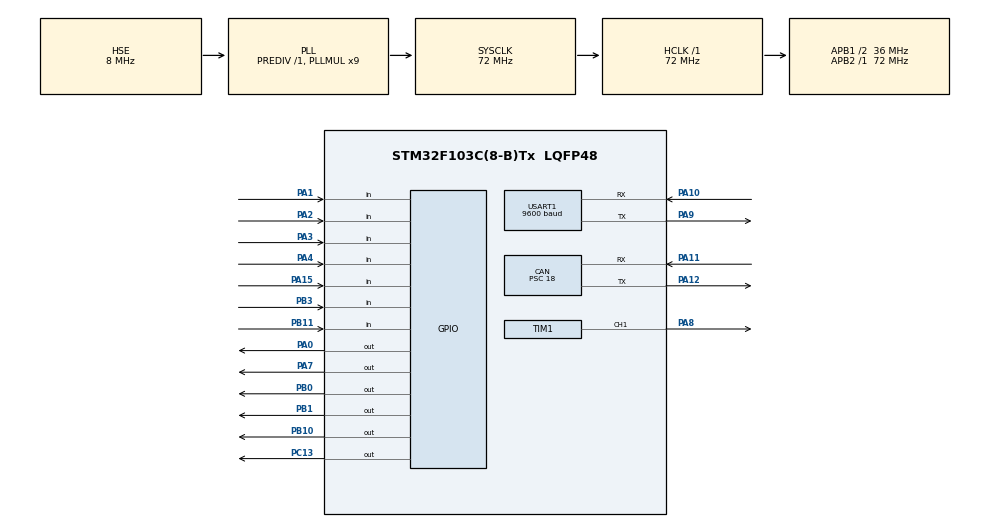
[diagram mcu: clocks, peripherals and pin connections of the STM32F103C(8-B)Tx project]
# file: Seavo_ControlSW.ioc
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CAN.BS1=CAN_BS1_4TQ
CAN.BS2=CAN_BS2_3TQ
CAN.CalculateBaudRate=250000
CAN.CalculateTimeBit=4000
CAN.CalculateTimeQuantum=500.0
CAN.Prescaler=18
FREERTOS.Tasks01=defaultTask,0,128,StartDefaultTask,Default,NULL,Dynamic,NULL,NULL
FREERTOS.configUSE_NEWLIB_REENTRANT=1
Mcu.Family=STM32F1
Mcu.Name=STM32F103C(8-B)Tx
Mcu.Package=LQFP48
NVIC.CAN1_RX1_IRQn=true\:5\:0\:false\:false\:true\:true\:true\:true\:true
NVIC.CAN1_SCE_IRQn=true\:5\:0\:false\:false\:true\:true\:true\:true\:true
NVIC.PriorityGroup=NVIC_PRIORITYGROUP_4
NVIC.TIM2_IRQn=true\:15\:0\:false\:false\:true\:false\:false\:true\:true
NVIC.TIM3_IRQn=true\:5\:0\:false\:false\:true\:true\:true\:true\:true
NVIC.TIM4_IRQn=true\:5\:0\:false\:false\:true\:true\:true\:true\:true
NVIC.TimeBase=TIM2_IRQn
NVIC.TimeBaseIP=TIM2
NVIC.USB_HP_CAN1_TX_IRQn=true\:5\:0\:false\:false\:true\:true\:true\:true\:true
NVIC.USB_LP_CAN1_RX0_IRQn=true\:5\:0\:true\:false\:true\:true\:true\:true\:true
PA0-WKUP.GPIO_ModeDefaultOutputPP=GPIO_MODE_OUTPUT_OD
PA0-WKUP.GPIO_PuPd=GPIO_NOPULL
PA0-WKUP.PinState=GPIO_PIN_SET
PA0-WKUP.Signal=GPIO_Output
PA1.GPIO_PuPd=GPIO_PULLUP
PA1.Signal=GPIO_Input
PA10.Mode=Asynchronous
PA10.Signal=USART1_RX
PA11.Mode=CAN_Activate
PA11.Signal=CAN_RX
PA12.Mode=CAN_Activate
PA12.Signal=CAN_TX
PA13.Mode=Serial_Wire
PA13.Signal=SYS_JTMS-SWDIO
PA14.Mode=Serial_Wire
PA14.Signal=SYS_JTCK-SWCLK
PA15.GPIO_PuPd=GPIO_PULLUP
PA15.Signal=GPIO_Input
PA2.GPIO_PuPd=GPIO_PULLUP
PA2.Signal=GPIO_Input
PA3.GPIO_PuPd=GPIO_PULLUP
PA3.Signal=GPIO_Input
PA4.GPIO_PuPd=GPIO_PULLUP
PA4.Signal=GPIO_Input
PA7.Signal=GPIO_Output
PA8.Signal=S_TIM1_CH1
PA9.Mode=Asynchronous
PA9.Signal=USART1_TX
PB0.Signal=GPIO_Output
PB1.Signal=GPIO_Output
PB10.PinState=GPIO_PIN_RESET
PB10.Signal=GPIO_Output
PB11.Signal=GPIO_Input
PB3.Signal=GPIO_Input
PC13-TAMPER-RTC.PinState=GPIO_PIN_SET
PC13-TAMPER-RTC.Signal=GPIO_Output
PC14-OSC32_IN.Mode=LSE-External-Oscillator
PC14-OSC32_IN.Signal=RCC_OSC32_IN
PC15-OSC32_OUT.Mode=LSE-External-Oscillator
PC15-OSC32_OUT.Signal=RCC_OSC32_OUT
PD0-OSC_IN.Mode=HSE-External-Oscillator
PD0-OSC_IN.Signal=RCC_OSC_IN
PD1-OSC_OUT.Mode=HSE-External-Oscillator
PD1-OSC_OUT.Signal=RCC_OSC_OUT
ProjectManager.HeapSize=0x200
ProjectManager.StackSize=0x400
ProjectManager.TargetToolchain=STM32CubeIDE
RCC.ADCPresc=RCC_ADCPCLK2_DIV6
RCC.AHBFreq_Value=72000000
RCC.APB1CLKDivider=RCC_HCLK_DIV2
RCC.APB1Freq_Value=36000000
RCC.APB1TimFreq_Value=72000000
RCC.APB2Freq_Value=72000000
RCC.APB2TimFreq_Value=72000000
RCC.HCLKFreq_Value=72000000
RCC.PLLMUL=RCC_PLL_MUL9
RCC.PLLSourceVirtual=RCC_PLLSOURCE_HSE
RCC.SYSCLKFreq_VALUE=72000000
RCC.SYSCLKSource=RCC_SYSCLKSOURCE_PLLCLK
RCC.USBFreq_Value=72000000
SH.S_TIM1_CH1.0=TIM1_CH1,PWM Generation1 CH1
TIM1.Channel-PWM\ Generation1\ CH1=TIM_CHANNEL_1
TIM1.Period=1000-1
TIM1.Prescaler=144-1
TIM3.Period=5000-1
TIM3.Prescaler=6500-1
TIM4.Period=5000-1
TIM4.Prescaler=4000-1
USART1.BaudRate=9600
USART1.VirtualMode=VM_ASYNC
VP_FREERTOS_VS_CMSIS_V1.Mode=CMSIS_V1
VP_SYS_VS_tim2.Mode=TIM2
VP_TIM1_VS_ClockSourceINT.Mode=Internal
VP_TIM3_VS_ClockSourceINT.Mode=Internal
VP_TIM4_VS_ClockSourceINT.Mode=Internal
board=custom

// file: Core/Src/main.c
/* USER CODE BEGIN Header */
/**
 ******************************************************************************
 * @file           : main.c
 * @brief          : Main program body
 ******************************************************************************
 * @attention
 *
 * Copyright (c) 2024 STMicroelectronics.
 * All rights reserved.
 *
 * This software is licensed under terms that can be found in the LICENSE file
 * in the root directory of this software component.
 * If no LICENSE file comes with this software, it is provided AS-IS.
 *
 ******************************************************************************
 */
/* USER CODE END Header */
#include "main.h"
#include "cmsis_os.h"
#include "can.h"
#include "tim.h"
#include "usart.h"
#include "gpio.h"

void SystemClock_Config(void);
void MX_FREERTOS_Init(void);

/* USER CODE BEGIN 0 */

void ControlMainFunction_Task    (void  * argument);
void ShutDowenSequenceFunctio_Task    (void  * argument);
void SpeedControl_Task    (void  * argument);
void DashboardDisplay_Task    (void  * argument);

CAN_TxHeaderTypeDef   TxHeader;
uint8_t               TxData[8];
uint32_t              TxMailbox;

CAN_RxHeaderTypeDef rxHeader;
uint8_t rxData[8];

int32_t Rec_ERPM;
int16_t Rec_Current;
int16_t Rec_DutyCycle;
uint32_t Rec_AhUsed;
uint32_t Rec_AhCharged;
uint32_t Rec_WhUsed;
uint32_t Rec_WhCharged;
int16_t Rec_TempFET;
int16_t Rec_TempMotor;
int16_t Rec_CurrentIn;
int16_t Rec_PIDPos;
int32_t Rec_Tachometer;
int16_t Rec_VoltageIn;

uint8_t commandID=0;
int32_t ERPM=0;
float Current=0;
float DutyCycle =0;
float AhUsed =0;
float AhCharged=0;
uint32_t WhUsed=0;
uint32_t WhCharged=0;
int16_t TempFET = 0;
int16_t TempMotor = 0;
int16_t CurrentIn = 0;
int16_t PIDPos = 0;
int32_t Tachometer = 0;
int16_t VoltageIn =0;

uint8_t FristTimeFlag = 0;
int32_t u8_RequestedSpeed = 500;
uint8_t u8_TimeOutFlag1 = 0;
uint8_t u8_TimeOutFlag4 = 0;
GPIO_PinState Switch1_State;
GPIO_PinState Switch2_State;
GPIO_PinState Switch15_State;
GPIO_PinState Switch3_State;
int8_t iterator=0;
int32_t current_speed = 500;

GPIO_PinState RighProximity_State;
GPIO_PinState LeftProximity_State;
typedef enum
{
	Displat_Init,
	Display_Black,
	Display_Intro,
	Display_Gear0,
	Display_Gear1,
	Display_Gear2,
	Display_Gear3,
	Display_Gear4,
	Display_Gear5,
}Display_t;
//Display_t prev_display= Display_Black;
Display_t current_display=Displat_Init;
typedef enum
{
	System_OpenSequenceOn,
	System_Operation,
	System_OpenSequenceOff,
}System_State_t;
System_State_t System_State;
uint8_t Display_BlackScreen[9]={0x70,0x61,0x67,0x65,0x20,0x30,0xff,0xff,0xff};
uint8_t Display_IntroScreen[9]={0x70,0x61,0x67,0x65,0x20,0x31,0xff,0xff,0xff};
uint8_t Display_Speed0[9]={0x70,0x61,0x67,0x65,0x20,0x32,0xff,0xff,0xff};
uint8_t Display_Speed1[9]={0x70,0x61,0x67,0x65,0x20,0x33,0xff,0xff,0xff};
uint8_t Display_Speed2[9]={0x70,0x61,0x67,0x65,0x20,0x34,0xff,0xff,0xff};
uint8_t Display_Speed3[9]={0x70,0x61,0x67,0x65,0x20,0x35,0xff,0xff,0xff};
uint8_t Display_Speed4[9]={0x70,0x61,0x67,0x65,0x20,0x36,0xff,0xff,0xff};
uint8_t Display_Speed5[9]={0x70,0x61,0x67,0x65,0x20,0x37,0xff,0xff,0xff};
uint8_t RPM[7]={'n','0','.','v','a','l','='};
uint8_t CUR[7]={'n','2','.','v','a','l','='};
uint8_t DUTY[7]={'n','1','.','v','a','l','='};
uint8_t WH[7]={'n','3','.','v','a','l','='};
uint8_t Termination[3] = {0xff,0xff,0xff};
int size=0;
uint8_t arr[50];

int int32ToAsciiArray(int32_t number, uint8_t arr[], int maxSize) ;
int int32ToAsciiArray(int32_t number, uint8_t arr[], int maxSize) {
	int index = 0;
	char isNegative = 0;

	// Handle negative numbers by converting them to positive and recording the sign
	if (number < 0) {
		isNegative = 1;
		number = -number;
	}

	// Determine the digits and store them in reverse order
	do {
		if (index < maxSize) {
			arr[index++] = (number % 10) + '0';
		}
		number /= 10;
	} while (number > 0);

	// Add the negative sign if the number was negative
	if (isNegative && index < maxSize) {
		arr[index++] = '-';
	}

	// Reverse the array to get the correct order
	for (int i = 0; i < index / 2; ++i) {
		uint8_t temp = arr[i];
		arr[i] = arr[index - 1 - i];
		arr[index - 1 - i] = temp;
	}

	// Return the number of characters stored in the array
	return index;
}

/* USER CODE END 0 */

int main(void)
{

  /* MCU Configuration--------------------------------------------------------*/

  /* Reset of all peripherals, Initializes the Flash interface and the Systick. */
  HAL_Init();

  /* Configure the system clock */
  SystemClock_Config();

  /* Initialize all configured peripherals */
  MX_GPIO_Init();
  MX_TIM1_Init();
  MX_TIM4_Init();
  MX_TIM3_Init();
  MX_USART1_UART_Init();
  MX_CAN_Init();
  /* USER CODE BEGIN 2 */
	System_State = System_OpenSequenceOn;
	xTaskCreate(ShutDowenSequenceFunctio_Task, NULL, 128 , NULL , 4 , NULL);
	xTaskCreate(ControlMainFunction_Task, NULL, 128 , NULL , 2 , NULL);
	xTaskCreate(SpeedControl_Task, NULL, 100 , NULL , 3 , NULL);
	xTaskCreate(DashboardDisplay_Task, NULL, 128 , NULL , 1 , NULL);

	__HAL_TIM_SET_COMPARE(&htim1 ,TIM_CHANNEL_1 , 500);
	HAL_TIM_PWM_Start(&htim1, TIM_CHANNEL_1);

	HAL_CAN_Start(&hcan);
	if (HAL_CAN_ActivateNotification(&hcan, CAN_IT_RX_FIFO0_MSG_PENDING) != HAL_OK)
	{
		Error_Handler();
	}
	//uint8_t ter = 0xff;
	//HAL_UART_Transmit(&huart1, Display_IntroScreen, sizeof(Display_IntroScreen), HAL_MAX_DELAY);

  /* USER CODE END 2 */

  /* Call init function for freertos objects (in freertos.c) */
  MX_FREERTOS_Init();

  /* Start scheduler */
  osKernelStart();

  /* We should never get here as control is now taken by the scheduler */
  /* Infinite loop */
	while (1)
	{

	}
}

void SystemClock_Config(void)
{
  RCC_OscInitTypeDef RCC_OscInitStruct = {0};
  RCC_ClkInitTypeDef RCC_ClkInitStruct = {0};

  /** Initializes the RCC Oscillators according to the specified parameters
  * in the RCC_OscInitTypeDef structure.
  */
  RCC_OscInitStruct.OscillatorType = RCC_OSCILLATORTYPE_HSE;
  RCC_OscInitStruct.HSEState = RCC_HSE_ON;
  RCC_OscInitStruct.HSEPredivValue = RCC_HSE_PREDIV_DIV1;
  RCC_OscInitStruct.HSIState = RCC_HSI_ON;
  RCC_OscInitStruct.PLL.PLLState = RCC_PLL_ON;
  RCC_OscInitStruct.PLL.PLLSource = RCC_PLLSOURCE_HSE;
  RCC_OscInitStruct.PLL.PLLMUL = RCC_PLL_MUL9;
  if (HAL_RCC_OscConfig(&RCC_OscInitStruct) != HAL_OK)
  {
    Error_Handler();
  }

  /** Initializes the CPU, AHB and APB buses clocks
  */
  RCC_ClkInitStruct.ClockType = RCC_CLOCKTYPE_HCLK|RCC_CLOCKTYPE_SYSCLK
                              |RCC_CLOCKTYPE_PCLK1|RCC_CLOCKTYPE_PCLK2;
  RCC_ClkInitStruct.SYSCLKSource = RCC_SYSCLKSOURCE_PLLCLK;
  RCC_ClkInitStruct.AHBCLKDivider = RCC_SYSCLK_DIV1;
  RCC_ClkInitStruct.APB1CLKDivider = RCC_HCLK_DIV2;
  RCC_ClkInitStruct.APB2CLKDivider = RCC_HCLK_DIV1;

  if (HAL_RCC_ClockConfig(&RCC_ClkInitStruct, FLASH_LATENCY_2) != HAL_OK)
  {
    Error_Handler();
  }
}

/* USER CODE BEGIN 4 */

void ControlMainFunction_Task(void *argument) {
	while (1) {

		switch (System_State) {
		case System_OpenSequenceOn:
			u8_RequestedSpeed = 500;
			iterator = 1;
			current_speed = 500;
			__HAL_TIM_SET_COMPARE(&htim1, TIM_CHANNEL_1, current_speed);

			// Check switches
			Switch1_State = HAL_GPIO_ReadPin(GPIOA, GPIO_PIN_3);
			Switch2_State = HAL_GPIO_ReadPin(GPIOA, GPIO_PIN_15);

			if (Switch1_State == GPIO_PIN_RESET && Switch2_State == GPIO_PIN_RESET) {
				//				do{
				//					Switch1_State = HAL_GPIO_ReadPin(GPIOA, GPIO_PIN_3);
				//					Switch2_State = HAL_GPIO_ReadPin(GPIOA, GPIO_PIN_15);
				//				}while(Switch1_State == GPIO_PIN_RESET && Switch2_State == GPIO_PIN_RESET);
				HAL_TIM_Base_Start_IT(&htim3);  // Start timer
			} else {
				HAL_TIM_Base_Stop(&htim3);  // Stop and reset timer
				__HAL_TIM_SET_COUNTER(&htim3, 500);
			}

			if (u8_TimeOutFlag1 == 1) {
				u8_TimeOutFlag1 = 0;
				//HAL_GPIO_TogglePin(GPIOC, GPIO_PIN_13);
				HAL_GPIO_WritePin(GPIOB, GPIO_PIN_10, GPIO_PIN_SET);
				HAL_GPIO_WritePin(GPIOC, GPIO_PIN_13, 0);
				HAL_TIM_Base_Stop(&htim3);
				__HAL_TIM_SET_COUNTER(&htim3, 500);
				FristTimeFlag = 1;
				System_State = System_Operation;
				HAL_GPIO_WritePin(GPIOB, GPIO_PIN_1, GPIO_PIN_SET);
				vTaskDelay(2000);
				HAL_GPIO_WritePin(GPIOB, GPIO_PIN_1, GPIO_PIN_RESET);
			}
			break;

		case System_Operation:
			if (FristTimeFlag) {
				FristTimeFlag = 0;
				vTaskDelay(500);
			}

			// Check switches
			Switch1_State = HAL_GPIO_ReadPin(GPIOA, GPIO_PIN_3);
			Switch2_State = HAL_GPIO_ReadPin(GPIOA, GPIO_PIN_15);

			if (Switch1_State == GPIO_PIN_SET && Switch2_State == GPIO_PIN_RESET) {
				// Increase requested speed
				do {
					Switch2_State = HAL_GPIO_ReadPin(GPIOA, GPIO_PIN_15);
				} while (Switch2_State == GPIO_PIN_RESET);
				u8_RequestedSpeed += 90;
				if (u8_RequestedSpeed > 950) {
					u8_RequestedSpeed = 950;
				}
			} else if (Switch1_State == GPIO_PIN_RESET && Switch2_State == GPIO_PIN_SET) {
				// Decrease requested speed
				do {
					Switch1_State = HAL_GPIO_ReadPin(GPIOA, GPIO_PIN_3);
				} while (Switch1_State == GPIO_PIN_RESET);
				u8_RequestedSpeed -= 90;
				if (u8_RequestedSpeed < 500) {
					u8_RequestedSpeed = 500;
				}
			}
			break;

		default:
			break;
		}
		vTaskDelay(30);
	}
}

void ShutDowenSequenceFunctio_Task(void *argument) {
	while (1) {
		if (System_State == System_Operation) {
			RighProximity_State = HAL_GPIO_ReadPin(GPIOB, GPIO_PIN_3);
			LeftProximity_State = HAL_GPIO_ReadPin(GPIOB, GPIO_PIN_11);

			// Check proximity sensors
			//if (RighProximity_State != GPIO_PIN_RESET || LeftProximity_State != GPIO_PIN_RESET)
			if (RighProximity_State != GPIO_PIN_RESET ) {
				iterator = 0;
				current_speed = 500;
				__HAL_TIM_SET_COMPARE(&htim1, TIM_CHANNEL_1, current_speed);
				HAL_TIM_PWM_Stop(&htim1, TIM_CHANNEL_1);
			}

			// Check switches
			Switch1_State = HAL_GPIO_ReadPin(GPIOA, GPIO_PIN_3);
			Switch2_State = HAL_GPIO_ReadPin(GPIOA, GPIO_PIN_15);

			if (Switch1_State == GPIO_PIN_RESET && Switch2_State == GPIO_PIN_RESET) {
				//				do{
				//					Switch1_State = HAL_GPIO_ReadPin(GPIOA, GPIO_PIN_3);
				//					Switch2_State = HAL_GPIO_ReadPin(GPIOA, GPIO_PIN_15);
				//				}while(Switch1_State == GPIO_PIN_RESET && Switch2_State == GPIO_PIN_RESET);
				HAL_TIM_Base_Start_IT(&htim3);  // Start timer
			} else {
				HAL_TIM_Base_Stop(&htim3);  // Stop and reset timer
				__HAL_TIM_SET_COUNTER(&htim3, 500);
			}

			if (u8_TimeOutFlag1 == 2) {
				u8_TimeOutFlag1 = 0;

				HAL_GPIO_WritePin(GPIOC, GPIO_PIN_13, 1);
				HAL_GPIO_WritePin(GPIOB, GPIO_PIN_10, GPIO_PIN_RESET);
				HAL_TIM_Base_Stop(&htim3);
				__HAL_TIM_SET_COUNTER(&htim3, 500);
				u8_RequestedSpeed = 500;
				iterator = 1;
				current_speed = 500;
				__HAL_TIM_SET_COMPARE(&htim1, TIM_CHANNEL_1, current_speed);
				HAL_TIM_PWM_Stop(&htim1, TIM_CHANNEL_1);
				System_State = System_OpenSequenceOn;
				HAL_GPIO_WritePin(GPIOB, GPIO_PIN_1, GPIO_PIN_SET);
				vTaskDelay(5000);
				HAL_GPIO_WritePin(GPIOB, GPIO_PIN_1, GPIO_PIN_RESET);
			}
		}
		vTaskDelay(30);
	}
}

void SpeedControl_Task(void *argument) {
	while (1) {
		// Read the proximity states
		RighProximity_State = HAL_GPIO_ReadPin(GPIOB, GPIO_PIN_3);
		LeftProximity_State = HAL_GPIO_ReadPin(GPIOB, GPIO_PIN_11);

		// Check if the system is in operation mode and both proximity sensors are not triggered
		//if (System_State == System_Operation && RighProximity_State == GPIO_PIN_RESET && LeftProximity_State == GPIO_PIN_RESET)
		if (System_State == System_Operation && RighProximity_State == GPIO_PIN_RESET) {
			// Start the PWM signal
			HAL_TIM_PWM_Start(&htim1, TIM_CHANNEL_1);

			// Adjust the current speed to match the requested speed
			if (u8_RequestedSpeed > current_speed) {
				current_speed++; // Increment current speed
			} else if (u8_RequestedSpeed < current_speed) {
				current_speed--; // Decrement current speed
			}

			// Set the new compare value to adjust the duty cycle
			__HAL_TIM_SET_COMPARE(&htim1, TIM_CHANNEL_1, current_speed);

			// Restart the PWM with the new compare value
			HAL_TIM_PWM_Start(&htim1, TIM_CHANNEL_1);
		} else {
			// If the system is not in operation or proximity sensors are triggered, stop the PWM
			HAL_TIM_PWM_Stop(&htim1, TIM_CHANNEL_1);
		}

		// Add a delay to control the speed adjustment rate
		vTaskDelay(20); // Adjust this value as needed
	}
}
void DashboardDisplay_Task(void *argument)
{
	while(1)
	{
		switch(System_State)
		{
		case System_OpenSequenceOn:
			if (current_display != Display_Black)
			{
				current_display = Display_Black;
				// Send UART command to display the Black Page
				//HAL_UART_Transmit(&huart1, Display_BlackScreen, 9, 1000);
				HAL_GPIO_WritePin(GPIOA, GPIO_PIN_7, 0);
			}
			break;

		case System_Operation:
			if (current_display == Display_Black) // Check if we are transitioning from OpenSequence
			{
				HAL_GPIO_WritePin(GPIOA, GPIO_PIN_7, 1);
				vTaskDelay(100);
				current_display = Display_Intro;
				// Send UART command to display the Intro Page
				HAL_UART_Transmit(&huart1, Display_IntroScreen, 9, 1000);
				vTaskDelay(9000); // Display intro for 3 seconds
			}

			// Handle gear display based on requested speed
			switch(u8_RequestedSpeed)
			{
			case 500:
				if(current_display != Display_Gear0)
				{
					current_display = Display_Gear0;
					HAL_UART_Transmit(&huart1, Display_Speed0, 9, 1000);
					// Send UART command to display Gear 0 Page
				}
				break;
			case 590:
				if(current_display != Display_Gear1)
				{
					current_display = Display_Gear1;
					HAL_UART_Transmit(&huart1, Display_Speed1, 9, 1000);
					// Send UART command to display Gear 1 Page
				}
				break;
			case 680:
				if(current_display != Display_Gear2)
				{
					current_display = Display_Gear2;
					HAL_UART_Transmit(&huart1, Display_Speed2, 9, 1000);
					// Send UART command to display Gear 2 Page
				}
				break;
			case 770:
				if(current_display != Display_Gear3)
				{
					current_display = Display_Gear3;
					HAL_UART_Transmit(&huart1, Display_Speed3, 9, 1000);
					// Send UART command to display Gear 3 Page
				}
				break;
			case 860:
				if(current_display != Display_Gear4)
				{
					current_display = Display_Gear4;
					HAL_UART_Transmit(&huart1, Display_Speed4, 9, 1000);
					// Send UART command to display Gear 4 Page
				}
				break;
			case 950:
				if(current_display != Display_Gear5)
				{
					current_display = Display_Gear5;
					HAL_UART_Transmit(&huart1, Display_Speed5, 9, 1000);
					// Send UART command to display Gear 5 Page
				}
				break;
			default: break;
			}
			break;

			default: break;
		}

		if(DutyCycle >= 0)
		{
			size = int32ToAsciiArray(DutyCycle , arr , sizeof(arr));
			HAL_UART_Transmit(&huart1, DUTY, sizeof(DUTY), 1000);
			HAL_UART_Transmit(&huart1, arr, size, 1000);
			HAL_UART_Transmit(&huart1, Termination, sizeof(Termination), 1000);
		}

		if(Current >= 0)
		{
			size = int32ToAsciiArray(Current , arr , sizeof(arr));
			HAL_UART_Transmit(&huart1, CUR, sizeof(CUR), 1000);
			HAL_UART_Transmit(&huart1, arr, size, 1000);
			HAL_UART_Transmit(&huart1, Termination, sizeof(Termination), 1000);
		}

		if(ERPM >= 0)
		{
			size = int32ToAsciiArray(ERPM , arr , sizeof(arr));
			HAL_UART_Transmit(&huart1, RPM, sizeof(RPM), 1000);
			HAL_UART_Transmit(&huart1, arr, size, 1000);
			HAL_UART_Transmit(&huart1, Termination, sizeof(Termination), 1000);
		}

		if(WhUsed >= 0)
		{
			size = int32ToAsciiArray(WhUsed , arr , sizeof(arr));
			HAL_UART_Transmit(&huart1, WH, sizeof(WH), 1000);
			HAL_UART_Transmit(&huart1, arr, size, 1000);
			HAL_UART_Transmit(&huart1, Termination, sizeof(Termination), 1000);
		}
		vTaskDelay(250); // Task delay
	}
}

void HAL_CAN_RxFifo0MsgPendingCallback(CAN_HandleTypeDef *hcan)
{

	// Get the message
	if (HAL_CAN_GetRxMessage(hcan, CAN_RX_FIFO0, &rxHeader, rxData) != HAL_OK)
	{
		// Reception error
	}

	// Extract the Command ID from the received message
	uint8_t commandID = (rxHeader.ExtId >> 8) & 0xFF;

	switch (commandID)
	{
	case 9: // CAN_PACKET_STATUS
	{
		Rec_ERPM = (rxData[0] << 24) | (rxData[1] << 16) | (rxData[2] << 8) | rxData[3];
		ERPM = Rec_ERPM;
		Rec_Current = (rxData[4] << 8) | rxData[5];
		Current = (float)Rec_Current / 10.0;
		Rec_DutyCycle = (rxData[6] << 8) | rxData[7];
		DutyCycle = (float)Rec_DutyCycle / 10.0;

		// Process ERPM, Current, DutyCycle
	}
	break;

	case 14: // CAN_PACKET_STATUS_2
	{
		Rec_AhUsed = (rxData[0] << 24) | (rxData[1] << 16) | (rxData[2] << 8) | rxData[3];
		AhUsed = (float)Rec_AhUsed / 10000.0;
		Rec_AhCharged = (rxData[4] << 24) | (rxData[5] << 16) | (rxData[6] << 8) | rxData[7];
		AhCharged = (float)Rec_AhCharged / 10000.0;

		// Process AhUsed, AhCharged
	}
	break;

	case 15: // CAN_PACKET_STATUS_3
	{
		Rec_WhUsed = (rxData[0] << 24) | (rxData[1] << 16) | (rxData[2] << 8) | rxData[3];
		WhUsed = (float)Rec_WhUsed / 10000.0;
		Rec_WhCharged = (rxData[4] << 24) | (rxData[5] << 16) | (rxData[6] << 8) | rxData[7];
		WhCharged = (float)Rec_WhCharged / 10000.0;

		// Process WhUsed, WhCharged
	}
	break;

	case 16: // CAN_PACKET_STATUS_4
	{
		Rec_TempFET = (rxData[0] << 8) | rxData[1];
		TempFET = (float)Rec_TempFET / 10.0;
		Rec_TempMotor = (rxData[2] << 8) | rxData[3];
		TempMotor = (float)Rec_TempMotor / 10.0;
		Rec_CurrentIn = (rxData[4] << 8) | rxData[5];
		CurrentIn = (float)Rec_CurrentIn / 10.0;
		Rec_PIDPos = (rxData[6] << 8) | rxData[7];
		PIDPos = (float)Rec_PIDPos / 50.0;

		// Process TempFET, TempMotor, CurrentIn, PIDPos
	}
	break;

	case 27: // CAN_PACKET_STATUS_5
	{
		Rec_Tachometer = (rxData[0] << 24) | (rxData[1] << 16) | (rxData[2] << 8) | rxData[3];
		Tachometer = (float)Rec_Tachometer / 6.0;
		Rec_VoltageIn = (rxData[4] << 8) | rxData[5];
		VoltageIn = (float)Rec_VoltageIn / 10.0;

		// Process Tachometer, VoltageIn
	}
	break;

	case 28: // CAN_PACKET_STATUS_6
	{
		//	            int16_t ADC1 = (rxData[0] << 8) | rxData[1];
		//	            int16_t ADC2 = (rxData[2] << 8) | rxData[3];
		//	            int16_t ADC3 = (rxData[4] << 8) | rxData[5];
		//	            int16_t PPM = (rxData[6] << 8) | rxData[7];

		// Process ADC1, ADC2, ADC3, PPM
	}
	break;

	default:
		// Handle unknown or unsupported command IDs
		break;
	}

}

/* USER CODE END 4 */

void HAL_TIM_PeriodElapsedCallback(TIM_HandleTypeDef *htim)
{
  if (htim->Instance == TIM2) {
    HAL_IncTick();
  }
  /* USER CODE BEGIN Callback 1 */
	if(htim->Instance == TIM3)
	{
		static uint8_t IntErrorFlag1=0;
		IntErrorFlag1++;
		if(IntErrorFlag1 > 1)
		{
			if(System_State == System_OpenSequenceOn)
			{
				u8_TimeOutFlag1 = 1;
			}
			else if (System_State == System_Operation)
			{
				u8_TimeOutFlag1++;
			}
			else
			{

			}
		}
	}
	if(htim->Instance == TIM4)
	{
		static uint8_t IntErrorFlag4=0;
		IntErrorFlag4++;
		if(IntErrorFlag4 > 1)
		{
			u8_TimeOutFlag4 = 1;
		}
	}
  /* USER CODE END Callback 1 */
}

void Error_Handler(void)
{
	__disable_irq();
	while (1)
	{
	}
}
